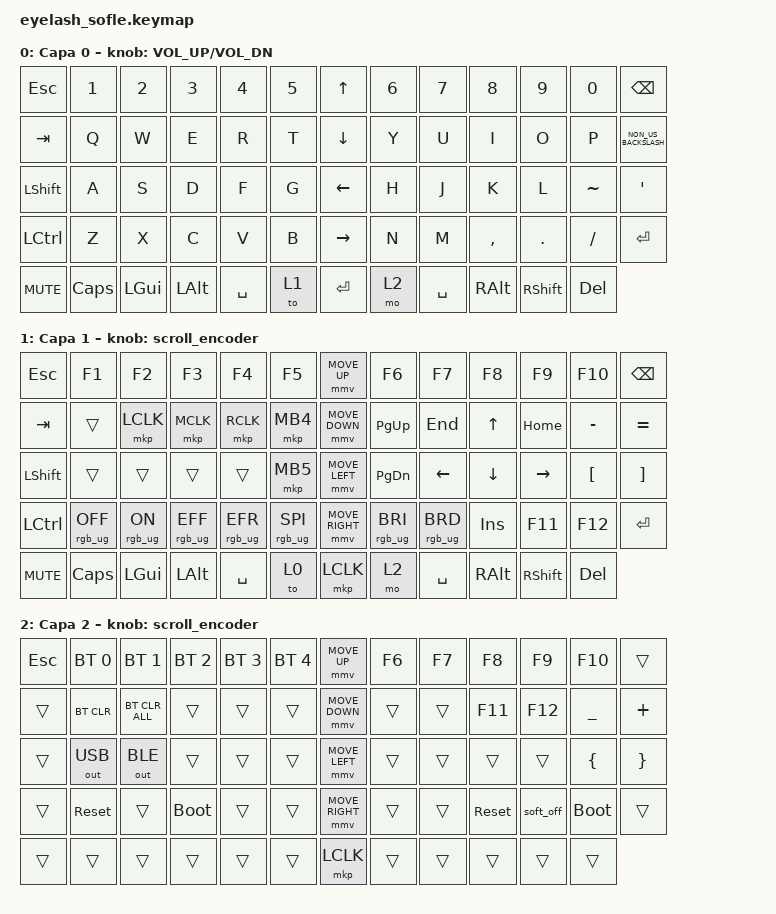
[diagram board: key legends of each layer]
#define ZMK_POINTING_DEFAULT_MOVE_VAL 1200  // 600
#define ZMK_POINTING_DEFAULT_SCRL_VAL 25   // 10

#include <input/processors.dtsi>
#include <zephyr/dt-bindings/input/input-event-codes.h>
#include <behaviors.dtsi>
#include <dt-bindings/zmk/bt.h>
#include <dt-bindings/zmk/keys.h>
#include <dt-bindings/zmk/outputs.h>
#include <dt-bindings/zmk/pointing.h>
#include <dt-bindings/zmk/rgb.h>

&mmv_input_listener { input-processors = <&zip_xy_scaler 2 1>; };

&msc_input_listener { input-processors = <&zip_scroll_scaler 2 1>; };

&msc {
    acceleration-exponent = <1>;      // 0
    time-to-max-speed-ms = <100>;       // 300
    delay-ms = <0>;                   // 0
};

&mmv {
    time-to-max-speed-ms = <500>;
    acceleration-exponent = <1>;
    trigger-period-ms = <16>;
};

/ {
    scroll_encoder: scroll_encoder {
        compatible = "zmk,behavior-sensor-rotate";
        #sensor-binding-cells = <0>;
        bindings = <&msc SCRL_DOWN>, <&msc SCRL_UP>;

        tap-ms = <100>;
    };

    behaviors {
    };

    keymap {
        compatible = "zmk,keymap";

        Capa_0 {
            bindings = <
&kp ESC           &kp NUMBER_1  &kp NUMBER_2  &kp NUMBER_3  &kp NUMBER_4  &kp N5    &kp UP_ARROW     &kp NUMBER_6  &kp N7     &kp N8         &kp N9           &kp N0      &kp BACKSPACE
&kp TAB           &kp Q         &kp W         &kp E         &kp R         &kp T     &kp DOWN_ARROW   &kp Y         &kp U      &kp I          &kp O            &kp P       &kp NON_US_BACKSLASH
&kp LEFT_SHIFT    &kp A         &kp S         &kp D         &kp F         &kp G     &kp LEFT_ARROW   &kp H         &kp J      &kp K          &kp L            &kp TILDE   &kp APOS
&kp LEFT_CONTROL  &kp Z         &kp X         &kp C         &kp V         &kp B     &kp RIGHT_ARROW  &kp N         &kp M      &kp COMMA      &kp DOT          &kp SLASH   &kp ENTER
&kp C_MUTE        &kp CAPSLOCK  &kp LEFT_GUI  &kp LEFT_ALT  &kp SPACE     &to 1     &kp ENTER        &mo 2         &kp SPACE  &kp RIGHT_ALT  &kp RIGHT_SHIFT  &kp DELETE
            >;

            sensor-bindings = <&inc_dec_kp C_VOLUME_UP C_VOL_DN>;
            display-name = "Capa 0";
        };

        Capa_1 {
            bindings = <
&kp ESCAPE        &kp F1           &kp F2          &kp F3           &kp F4           &kp F5             &mmv MOVE_UP     &kp F6           &kp F7           &kp F8      &kp F9           &kp F10           &kp BACKSPACE
&kp TAB           &trans           &mkp LCLK       &mkp MCLK        &mkp RCLK        &mkp MB4           &mmv MOVE_DOWN   &kp PG_UP        &kp END          &kp UP      &kp HOME         &kp MINUS         &kp EQUAL
&kp LEFT_SHIFT    &trans           &trans          &trans           &trans           &mkp MB5           &mmv MOVE_LEFT   &kp PG_DN        &kp LEFT         &kp DOWN    &kp RIGHT        &kp LEFT_BRACKET  &kp RIGHT_BRACKET
&kp LEFT_CONTROL  &rgb_ug RGB_OFF  &rgb_ug RGB_ON  &rgb_ug RGB_EFF  &rgb_ug RGB_EFR  &rgb_ug RGB_SPI    &mmv MOVE_RIGHT  &rgb_ug RGB_BRI  &rgb_ug RGB_BRD  &kp INSERT  &kp F11          &kp F12           &kp ENTER
&kp C_MUTE        &kp CAPSLOCK     &kp LEFT_GUI    &kp LEFT_ALT     &kp SPACE        &to 0              &mkp LCLK        &mo 2            &kp SPACE        &kp RALT    &kp RIGHT_SHIFT  &kp DELETE
            >;

            display-name = "Capa 1";
            sensor-bindings = <&scroll_encoder>;
        };

        Capa_2 {
            bindings = <
&kp ESCAPE  &bt BT_SEL 0  &bt BT_SEL 1    &bt BT_SEL 2  &bt BT_SEL 3  &bt BT_SEL 4    &mmv MOVE_UP     &kp F6  &kp F7  &kp F8      &kp F9     &kp F10      &trans
&trans      &bt BT_CLR    &bt BT_CLR_ALL  &trans        &trans        &trans          &mmv MOVE_DOWN   &trans  &trans  &kp F11     &kp F12    &kp UNDER    &kp PLUS
&trans      &out OUT_USB  &out OUT_BLE    &trans        &trans        &trans          &mmv MOVE_LEFT   &trans  &trans  &trans      &trans     &kp LBRC     &kp RBRC
&trans      &sys_reset    &trans          &bootloader   &trans        &trans          &mmv MOVE_RIGHT  &trans  &trans  &sys_reset  &soft_off  &bootloader  &trans
&trans      &trans        &trans          &trans        &trans        &trans          &mkp LCLK        &trans  &trans  &trans      &trans     &trans
            >;

            sensor-bindings = <&scroll_encoder>;
            label = "Capa 2";
        };
    };
};
